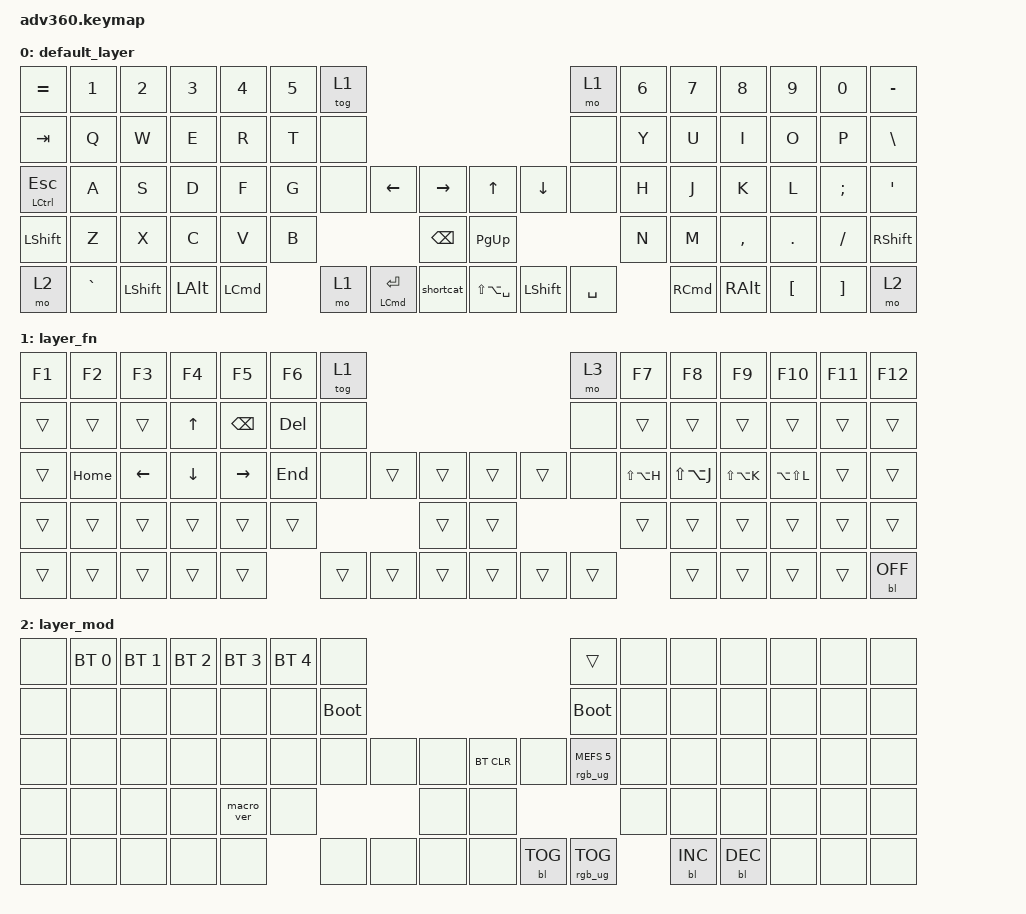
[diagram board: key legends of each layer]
/*
 * Copyright (c) 2020 The ZMK Contributors
 *
 * SPDX-License-Identifier: MIT
 */
/* THIS FILE WAS GENERATED!
 *
 * This file was generated automatically. You may or may not want to
 * edit it directly.
 */

#include <behaviors.dtsi>
#include <dt-bindings/zmk/backlight.h>
#include <dt-bindings/zmk/bt.h>
#include <dt-bindings/zmk/keys.h>
#include <dt-bindings/zmk/rgb.h>

/ {
    behaviors {
        #include "macros.dtsi"
    #include "version.dtsi"

        hm: homerow_mods {
            compatible = "zmk,behavior-hold-tap";
            label = "HOMEROW_MODS";
            #binding-cells = <2>;
            tapping-term-ms = <200>;
            quick_tap_ms = <175>;
            flavor = "tap-preferred";
            bindings = <&kp>, <&kp>;
        };
    };

    macros {
        shortcat: shortcat {
            compatible = "zmk,behavior-macro";
            #binding-cells = <0>;
            bindings =
                <&macro_press>,
                <&kp LS(LCMD)>,
                <&macro_tap>,
                <&kp SPACE>,
                <&macro_release>,
                <&kp LS(LEFT_COMMAND)>;

            label = "SHORTCAT";
        };
    };

    keymap {
        compatible = "zmk,keymap";

        default_layer {
            bindings = <
&kp EQUAL                &kp N1     &kp N2          &kp N3        &kp N4    &kp N5  &tog 1                                                                        &mo 1      &kp N6  &kp N7    &kp N8         &kp N9    &kp N0    &kp MINUS
&kp TAB                  &kp Q      &kp W           &kp E         &kp R     &kp T   &none                                                                         &none      &kp Y   &kp U     &kp I          &kp O     &kp P     &kp BSLH
&mt LEFT_CONTROL ESCAPE  &kp A      &kp S           &kp D         &kp F     &kp G   &none   &kp LEFT        &kp RIGHT          &kp UP             &kp DOWN        &none      &kp H   &kp J     &kp K          &kp L     &kp SEMI  &kp SQT
&kp LSHFT                &kp Z      &kp X           &kp C         &kp V     &kp B                           &kp BACKSPACE      &kp PG_UP                                     &kp N   &kp M     &kp COMMA      &kp DOT   &kp FSLH  &kp RSHFT
&mo 2                    &kp GRAVE  &kp LEFT_SHIFT  &kp LEFT_ALT  &kp LCMD          &mo 1   &hm LCMD ENTER  &shortcat          &kp LS(LA(SPACE))  &kp LEFT_SHIFT  &kp SPACE          &kp RCMD  &kp RIGHT_ALT  &kp LBKT  &kp RBKT  &mo 2
            >;
        };

        layer_fn {
            bindings = <
&kp F1  &kp F2    &kp F3    &kp F4    &kp F5         &kp F6      &tog 1                                      &mo 3   &kp F7         &kp F8         &kp F9         &kp F10        &kp F11  &kp F12
&trans  &trans    &trans    &kp UP    &kp BACKSPACE  &kp DELETE  &none                                       &none   &trans         &trans         &trans         &trans         &trans   &trans
&trans  &kp HOME  &kp LEFT  &kp DOWN  &kp RIGHT      &kp END     &none   &trans  &trans      &trans  &trans  &none   &kp LS(LA(H))  &kp LS(LA(J))  &kp LS(LA(K))  &kp LA(LS(L))  &trans   &trans
&trans  &trans    &trans    &trans    &trans         &trans                      &trans      &trans                  &trans         &trans         &trans         &trans         &trans   &trans
&trans  &trans    &trans    &trans    &trans                     &trans  &trans  &trans      &trans  &trans  &trans                 &trans         &trans         &trans         &trans   &bl BL_OFF
            >;
        };

        layer_mod {
            bindings = <
&none  &bt BT_SEL 0  &bt BT_SEL 1  &bt BT_SEL 2  &bt BT_SEL 3  &bt BT_SEL 4  &none                                                  &trans                  &none  &none       &none       &none  &none  &none
&none  &none         &none         &none         &none         &none         &bootloader                                            &bootloader             &none  &none       &none       &none  &none  &none
&none  &none         &none         &none         &none         &none         &none        &none  &none      &bt BT_CLR  &none       &rgb_ug RGB_MEFS_CMD 5  &none  &none       &none       &none  &none  &none
&none  &none         &none         &none         &macro_ver    &none                             &none      &none                                           &none  &none       &none       &none  &none  &none
&none  &none         &none         &none         &none                       &none        &none  &none      &none       &bl BL_TOG  &rgb_ug RGB_TOG                &bl BL_INC  &bl BL_DEC  &none  &none  &none
            >;
        };
    };
};
